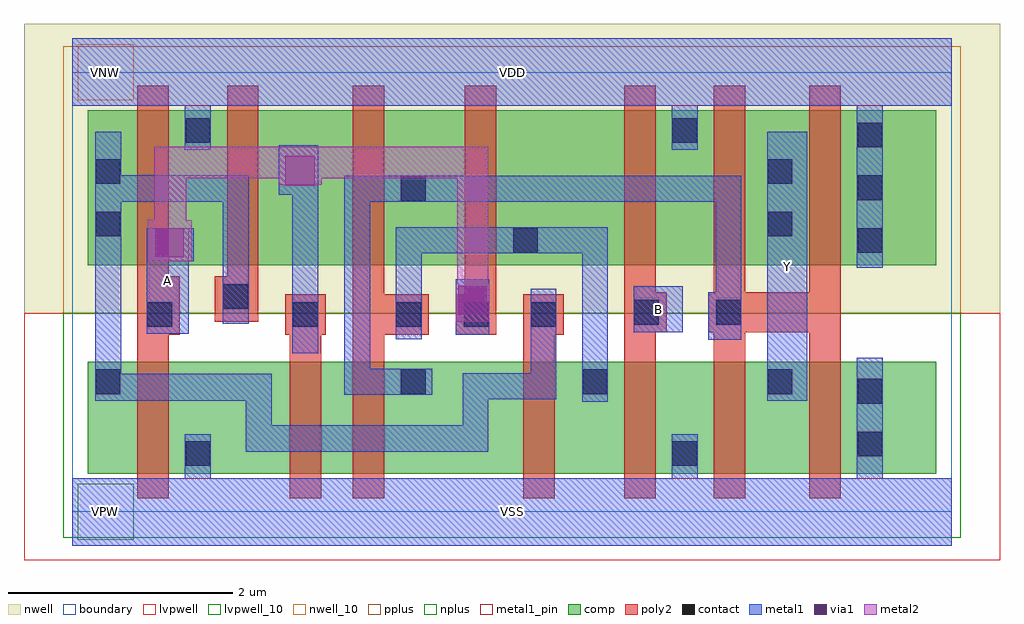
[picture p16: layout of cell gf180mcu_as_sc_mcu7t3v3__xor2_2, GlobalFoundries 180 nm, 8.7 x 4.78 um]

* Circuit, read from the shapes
.subckt gf180mcu_as_sc_mcu7t3v3__xor2_2 A B VDD VNW VSS Y
XM1 VSS A n1 VSUBS nfet_03v3 w=1u l=0.28u
XM2 n2 A VSS VSUBS nfet_03v3 w=1u l=0.28u
XM3 n3 n4 n2 VSUBS nfet_03v3 w=1u l=0.28u
XM4 n4 n1 n3 VSUBS nfet_03v3 w=1u l=0.28u
XM5 VSS B n4 VSUBS nfet_03v3 w=1u l=0.28u
XM6 Y n3 VSS VSUBS nfet_03v3 w=1u l=0.28u m=2
XM7 VDD A n1 VNW pfet_03v3 w=1.38u l=0.28u
XM8 n5 n1 VDD VNW pfet_03v3 w=1.38u l=0.28u
XM9 n3 n4 n5 VNW pfet_03v3 w=1.38u l=0.28u
XM10 n4 A n3 VNW pfet_03v3 w=1.38u l=0.28u
XM11 VDD B n4 VNW pfet_03v3 w=1.38u l=0.28u
XM12 Y n3 VDD VNW pfet_03v3 w=1.38u l=0.28u m=2
.ends

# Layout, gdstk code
import gdstk
lib = gdstk.Library(unit=1e-6, precision=1e-09)
def R(c, l, rs):  # rectangles x0, y0, x1, y1
    for r in rs: c.add(gdstk.rectangle(r[:2], r[2:], *l))
def A(c, l, x, y, w, h, nx, ny, dx, dy):  # array of equal rectangles
    R(c, l, [(x+i*dx, y+j*dy, x+i*dx+w, y+j*dy+h) for i in range(nx) for j in range(ny)])
boundary = (0, 0)
nwell = (21, 0)
nwell_10 = (21, 10)
comp = (22, 0)
poly2 = (30, 0)
pplus = (31, 0)
nplus = (32, 0)
contact = (33, 0)
metal1 = (34, 0)
metal1_pin = (34, 10)
via1 = (35, 0)
metal2 = (36, 0)
lvpwell = (204, 0)
lvpwell_10 = (204, 10)

gf180mcu_as_sc_mcu7t3v3_ = lib.new_cell('gf180mcu_as_sc_mcu7t3v3__xor2_2')
R(gf180mcu_as_sc_mcu7t3v3_, boundary, [(0,0,7.84,3.92)])
R(gf180mcu_as_sc_mcu7t3v3_, nwell, [(-0.43,1.77,8.27,4.35)])
R(gf180mcu_as_sc_mcu7t3v3_, nwell_10, [(0.05,3.67,0.55,4.17)])
R(gf180mcu_as_sc_mcu7t3v3_, comp, [(0.14,0.34,7.7,1.34), (0.14,2.2,7.7,3.58)])
R(gf180mcu_as_sc_mcu7t3v3_, poly2, [(0.58,0.12,0.86,1.58), (1.94,0.12,2.22,1.58), (2.5,0.12,2.78,1.58), (4.02,0.12,4.3,1.58), (4.92,0.12,5.2,1.6), (5.72,0.12,6,1.6), (6.57,0.12,6.85,1.6), (0.58,1.58,0.96,2.1), (1.9,1.58,2.26,1.94), (2.5,1.58,3.18,1.94), (3.42,1.58,3.78,1.94), (4.02,1.58,4.38,1.94), (4.92,1.6,5.3,1.96), (5.67,1.6,6.85,1.96), (1.27,1.695,1.66,2.1), (2.5,1.94,2.78,3.8), (3.5,1.94,3.78,3.8), (4.92,1.96,5.2,3.8), (5.72,1.96,6,3.8), (6.57,1.96,6.85,3.8), (0.58,2.1,0.86,3.8), (1.38,2.1,1.66,3.8)])
R(gf180mcu_as_sc_mcu7t3v3_, pplus, [(-0.08,1.77,7.92,4.15)])
R(gf180mcu_as_sc_mcu7t3v3_, nplus, [(-0.08,-0.23,7.92,1.77)])
A(gf180mcu_as_sc_mcu7t3v3_, contact, 2.89, 1.65, 0.22, 0.22, 3, 1, 0.6, 0)
A(gf180mcu_as_sc_mcu7t3v3_, contact, 7, 2.31, 0.22, 0.22, 1, 3, 0, 0.47)
R(gf180mcu_as_sc_mcu7t3v3_, contact, [(1.01,0.41,1.23,0.63), (5.35,0.41,5.57,0.63), (7,0.495,7.22,0.715), (7,0.965,7.22,1.185), (0.21,1.05,0.43,1.27), (2.93,1.05,3.15,1.27), (4.55,1.05,4.77,1.27), (6.2,1.05,6.42,1.27), (0.67,1.65,0.89,1.87), (1.97,1.65,2.19,1.87), (5.01,1.67,5.23,1.89), (5.74,1.67,5.96,1.89), (1.345,1.81,1.565,2.03), (3.93,2.31,4.15,2.53), (0.21,2.455,0.43,2.675), (6.2,2.455,6.42,2.675), (2.93,2.77,3.15,2.99), (0.21,2.925,0.43,3.145), (6.2,2.925,6.42,3.145), (1.01,3.29,1.23,3.51), (5.35,3.29,5.57,3.51)])
R(gf180mcu_as_sc_mcu7t3v3_, metal1, [(0,-0.3,7.84,0.3), (1.005,0.3,1.235,0.69), (5.345,0.3,5.575,0.69), (6.995,0.3,7.225,1.375), (1.545,0.535,3.71,0.77), (1.545,0.77,1.78,0.99), (3.48,0.77,3.71,1.005), (4.545,0.98,4.775,2.305), (0.205,0.99,1.78,1.23), (6.195,0.99,6.55,3.39), (3.48,1.005,4.315,1.235), (2.425,1.045,3.21,1.275), (0.205,1.23,0.435,2.765), (4.085,1.235,4.315,1.99), (2.425,1.275,2.655,2.765), (1.96,1.415,2.195,2.825), (5.67,1.535,5.965,1.96), (2.885,1.54,3.115,2.305), (3.42,1.58,3.715,2.075), (0.665,1.59,1.04,2.235), (5.005,1.6,5.44,2.01), (1.34,1.675,1.575,2.765), (5.735,1.96,5.965,2.765), (6.995,2.175,7.225,3.62), (0.665,2.235,1.085,2.53), (2.885,2.305,4.775,2.535), (0.205,2.765,1.575,3), (2.425,2.765,5.965,2.995), (1.84,2.825,2.195,3.27), (0.205,3,0.435,3.39), (1.005,3.23,1.235,3.62), (5.345,3.23,5.575,3.62), (0,3.62,7.84,4.22)])
R(gf180mcu_as_sc_mcu7t3v3_, metal1_pin, [(0,-0.3,7.84,0.3), (6.195,0.99,6.55,3.39), (0.665,1.59,1.04,2.53), (5.005,1.6,5.44,2.01), (0,3.62,7.84,4.22)])
R(gf180mcu_as_sc_mcu7t3v3_, via1, [(3.44,1.755,3.7,2.015), (0.735,2.27,0.995,2.53), (1.9,2.915,2.16,3.175)])
R(gf180mcu_as_sc_mcu7t3v3_, metal2, [(3.42,1.695,3.715,2.03), (3.43,2.03,3.71,2.975), (0.675,2.235,1.065,2.6), (0.675,2.6,1.015,2.605), (0.73,2.605,1.015,2.975), (1.89,2.905,2.18,2.915), (1.84,2.915,2.225,2.975), (0.73,2.975,3.71,3.255)])
R(gf180mcu_as_sc_mcu7t3v3_, lvpwell, [(-0.43,-0.43,8.27,1.77)])
R(gf180mcu_as_sc_mcu7t3v3_, lvpwell_10, [(0.05,-0.25,0.55,0.25)])
gf180mcu_as_sc_mcu7t3v3_.add(gdstk.Label('VDD', (3.92,3.92), layer=34, texttype=10))
gf180mcu_as_sc_mcu7t3v3_.add(gdstk.Label('VSS', (3.92,0), layer=34, texttype=10))
gf180mcu_as_sc_mcu7t3v3_.add(gdstk.Label('B', (5.222,1.805), layer=34, texttype=10))
gf180mcu_as_sc_mcu7t3v3_.add(gdstk.Label('A', (0.852,2.06), layer=34, texttype=10))
gf180mcu_as_sc_mcu7t3v3_.add(gdstk.Label('Y', (6.372,2.19), layer=34, texttype=10))
gf180mcu_as_sc_mcu7t3v3_.add(gdstk.Label('VNW', (0.3,3.92), layer=21, texttype=10))
gf180mcu_as_sc_mcu7t3v3_.add(gdstk.Label('VPW', (0.3,0), layer=204, texttype=10))

lib.write_gds('gf180mcu_as_sc_mcu7t3v3__xor2_2.gds')
